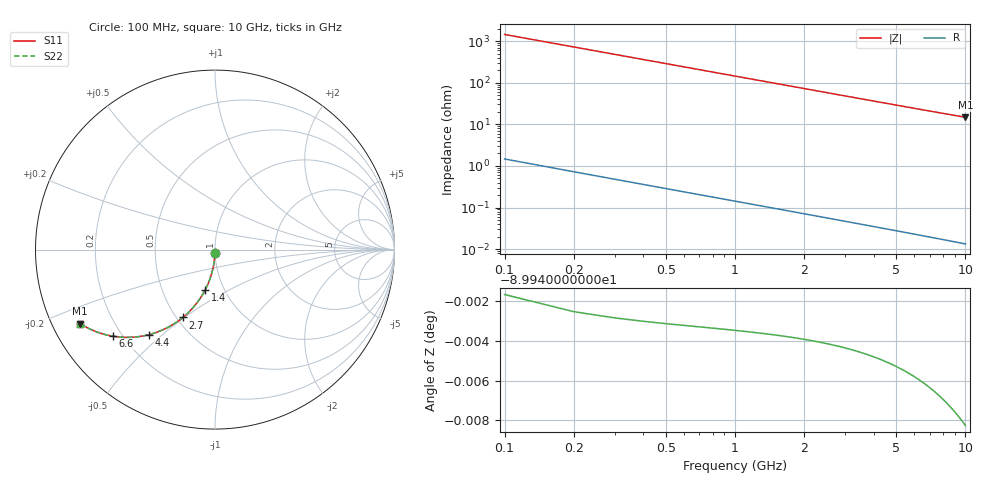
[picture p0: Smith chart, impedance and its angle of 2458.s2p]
# Hz S RI R 50.00
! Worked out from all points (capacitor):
!   100 points, 100 MHz to 10 GHz, reference 50 ohm
!   read as one part in shunt: C = 1.1 pF near 100 MHz
!   lowest |Z| = 14.8 ohm at 10 GHz (marker M1)
!   S11 on the Smith chart (normalised r, x): 100 MHz: 1.00, -0.03; 1.4 GHz: 0.81, -0.39; 2.7 GHz: 0.54, -0.49; 4.4 GHz: 0.31, -0.45; 6.6 GHz: 0.17, -0.36; 10 GHz: 0.08, -0.25
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1e8  -0.000268 -0.0171  0.9996 -0.0175  0.9996 -0.0175  -0.000268 -0.0171
2e8  -0.00118 -0.0342  0.9987 -0.0349  0.9987 -0.0349  -0.00118 -0.0342
3e8  -0.00269 -0.0512  0.9972 -0.0523  0.9972 -0.0523  -0.00269 -0.0512
4e8  -0.00478 -0.0681  0.9951 -0.0696  0.9951 -0.0696  -0.00478 -0.0681
5e8  -0.00745 -0.0849  0.9924 -0.0867  0.9924 -0.0867  -0.00745 -0.0849
6e8  -0.0107 -0.1015  0.9892 -0.1037  0.9892 -0.1037  -0.0107 -0.1015
7e8  -0.0145 -0.118  0.9854 -0.1205  0.9854 -0.1205  -0.0145 -0.118
9e8  -0.0237 -0.1503  0.9762 -0.1535  0.9762 -0.1535  -0.0237 -0.1503
1.1e9  -0.035 -0.1815  0.9649 -0.1855  0.9649 -0.1855  -0.035 -0.1815
1.4e9  -0.0555 -0.2261  0.9444 -0.2312  0.9444 -0.2312  -0.0555 -0.2261
1.8e9  -0.0885 -0.2804  0.9113 -0.2869  0.9113 -0.2869  -0.0885 -0.2804
2.2e9  -0.1267 -0.3282  0.8732 -0.3362  0.8732 -0.3362  -0.1267 -0.3282
2.7e9  -0.1793 -0.3782  0.8205 -0.3881  0.8205 -0.3881  -0.1793 -0.3782
3.4e9  -0.2573 -0.4305  0.7425 -0.4429  0.7425 -0.4429  -0.2573 -0.4305
3.9e9  -0.3132 -0.4562  0.6866 -0.4705  0.6866 -0.4705  -0.3132 -0.4562
4.4e9  -0.3674 -0.4735  0.6324 -0.4897  0.6324 -0.4897  -0.3674 -0.4735
5.1e9  -0.4385 -0.4863  0.5613 -0.5051  0.5613 -0.5051  -0.4385 -0.4863
6.6e9  -0.5672 -0.4827  0.4324 -0.5072  0.4324 -0.5072  -0.5672 -0.4827
6.7e9  -0.5746 -0.4814  0.4249 -0.5063  0.4249 -0.5063  -0.5746 -0.4814
7.5e9  -0.629 -0.4685  0.3705 -0.4965  0.3705 -0.4965  -0.629 -0.4685
8.4e9  -0.6806 -0.4499  0.3188 -0.4813  0.3188 -0.4813  -0.6806 -0.4499
1e10  -0.752 -0.4122  0.2471 -0.45  0.2471 -0.45  -0.752 -0.4122
